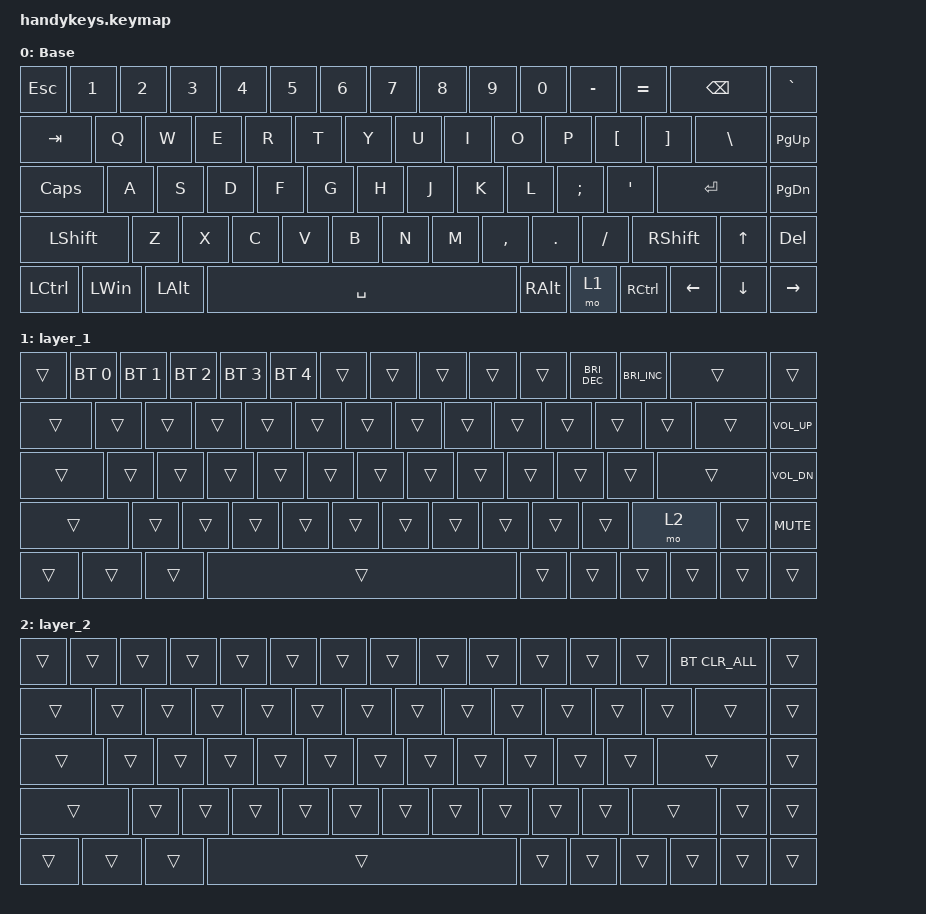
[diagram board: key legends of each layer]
#include <behaviors.dtsi>
#include <dt-bindings/zmk/bt.h>
#include <dt-bindings/zmk/keys.h>

/ {
    keymap {
        compatible = "zmk,keymap";

        default_layer {
            display-name = "Base";
            bindings = <
&kp ESCAPE        &kp NUMBER_1  &kp NUMBER_2  &kp NUMBER_3  &kp NUMBER_4   &kp N5  &kp NUMBER_6       &kp N7    &kp N8    &kp N9     &kp N0         &kp MINUS         &kp EQUAL          &kp BACKSPACE                &kp GRAVE
&kp TAB           &kp Q         &kp W         &kp E         &kp R          &kp T   &kp Y              &kp U     &kp I     &kp O      &kp P          &kp LEFT_BRACKET  &kp RIGHT_BRACKET  &kp BACKSLASH  &kp PAGE_UP
&kp CAPSLOCK      &kp A         &kp S         &kp D         &kp F          &kp G   &kp H              &kp J     &kp K     &kp L      &kp SEMICOLON  &kp SQT           &kp ENTER          &kp PAGE_DOWN
&kp LEFT_SHIFT                  &kp Z         &kp X         &kp C          &kp V   &kp B              &kp N     &kp M     &kp COMMA  &kp PERIOD     &kp SLASH         &kp RIGHT_SHIFT                   &kp UP_ARROW  &kp DELETE
&kp LEFT_CONTROL  &kp LEFT_WIN  &kp LEFT_ALT  &kp SPACE     &kp RIGHT_ALT  &mo 1   &kp RIGHT_CONTROL  &kp LEFT  &kp DOWN  &kp RIGHT
            >;
        };

        layer_1 {
            bindings = <
&trans  &bt BT_SEL 0  &bt BT_SEL 1  &bt BT_SEL 2  &bt BT_SEL 3  &bt BT_SEL 4  &trans  &trans  &trans  &trans  &trans  &kp C_BRIGHTNESS_DEC  &kp C_BRIGHTNESS_INC  &trans                         &trans
&trans  &trans        &trans        &trans        &trans        &trans        &trans  &trans  &trans  &trans  &trans  &trans                &trans                &trans        &kp C_VOLUME_UP
&trans  &trans        &trans        &trans        &trans        &trans        &trans  &trans  &trans  &trans  &trans  &trans                &trans                &kp C_VOL_DN
&trans                &trans        &trans        &trans        &trans        &trans  &trans  &trans  &trans  &trans  &trans                &mo 2                               &trans           &kp K_MUTE
&trans  &trans        &trans        &trans        &trans        &trans        &trans  &trans  &trans  &trans
            >;
        };

        layer_2 {
            bindings = <
&trans  &trans  &trans  &trans  &trans  &trans  &trans  &trans  &trans  &trans  &trans  &trans  &trans  &bt BT_CLR_ALL          &trans
&trans  &trans  &trans  &trans  &trans  &trans  &trans  &trans  &trans  &trans  &trans  &trans  &trans  &trans          &trans
&trans  &trans  &trans  &trans  &trans  &trans  &trans  &trans  &trans  &trans  &trans  &trans  &trans  &trans
&trans          &trans  &trans  &trans  &trans  &trans  &trans  &trans  &trans  &trans  &trans  &trans                  &trans  &trans
&trans  &trans  &trans  &trans  &trans  &trans  &trans  &trans  &trans  &trans
            >;
        };
    };
};
